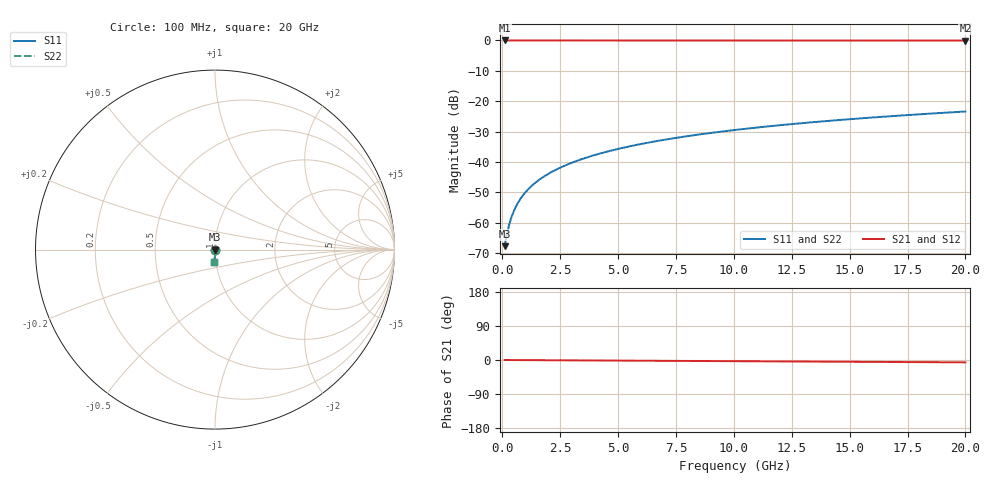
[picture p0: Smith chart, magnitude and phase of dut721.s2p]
! Touchstone file exported from HFSS 2026.1.0
!  File:  C:/ffzhzh/LocalFiles/Ansys_Project_Files/temp_train_TSV_721_1783182323_22436.aedt
!  Generated:  12:26:44 AM Jul  5, 2026
!  Design:  TSV
!  Project:  temp_train_TSV_721_1783182323_22436
! Variables:
!  h_bsmrdl = 2um
!  h_ox = 20um
!  h_rdl = 5um
!  h_sub = 51.48um
!  h_tmrdl = 5um
!  h_tsv = 51.48um
!  h_via = 3um
!  l_bsmrdl = 300um
!  l_sub = 409.42um
!  l_tmrdl = 200um
!  m_sub = 200um
!  pitch = 11.26um
!  r_tsv = 4.71um
!  s_tmrdl = 10um
!  w_bsmrdl = 18um
!  w_sub = 500um
!  w_tmrdl = 12um
!  x_tsv_center1 = 206um
!  x_tsv_center2 = 524um
!  x_tsv_center3 = 736um
!  x_tsv_center4 = 1054um
!  x_tsv_center5 = 1266um
!  x_tsv_center6 = 1584um
# GHz S MA R 50.000000
! Terminal data exported
! Port[1] = TSV1_1_T1
! Port[2] = TSV1_1_T2
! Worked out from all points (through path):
!   200 points, 100 MHz to 20 GHz, reference 50 ohm
!   highest |S21| = 0.00 dB at 100 MHz (marker M1); lowest = 0.0 dB at 20 GHz (marker M2)
!   lowest |S11| = -67.7 dB at 100 MHz (marker M3), VSWR 1.00, Z = 50 - j0.027 ohm
!   |S11| at or under -10 dB: start of sweep to end of sweep
!   |S22| runs from -67.7 to -23.4 dB; largest |S21 - S12| = 3.2e-15
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0.1  0.0004131 -40.8  0.9997 -0.0  0.9997 -0.0  0.0004131 -40.8
! Gamma 0 0 0 0
! Port Impedance 50 0 50 0
0.2  0.0006545 -58.2  0.9997 -0.1  0.9997 -0.1  0.0006545 -58.2
0.3  0.0009419 -66.2  0.9996 -0.1  0.9996 -0.1  0.0009419 -66.2
0.4  0.001249 -70.9  0.9996 -0.1  0.9996 -0.1  0.001249 -70.9
0.5  0.001566 -73.9  0.9996 -0.2  0.9996 -0.2  0.001566 -73.9
0.7  0.002209 -77.8  0.9995 -0.2  0.9995 -0.2  0.002209 -77.8
0.8  0.002533 -79.1  0.9995 -0.3  0.9995 -0.3  0.002533 -79.1
1  0.003181 -81.1  0.9995 -0.3  0.9995 -0.3  0.003181 -81.1
1.2  0.00383 -82.4  0.9995 -0.4  0.9995 -0.4  0.00383 -82.4
1.4  0.00448 -83.3  0.9994 -0.5  0.9994 -0.5  0.00448 -83.3
1.7  0.005456 -84.3  0.9994 -0.5  0.9994 -0.5  0.005456 -84.3
2  0.006436 -85.1  0.9994 -0.6  0.9994 -0.6  0.006436 -85.1
2.7  0.008736 -86.2  0.9992 -0.9  0.9992 -0.9  0.008736 -86.2
3.5  0.01139 -86.9  0.9991 -1.1  0.9991 -1.1  0.01139 -86.9
4.2  0.01373 -87.4  0.999 -1.3  0.999 -1.3  0.01373 -87.4
5  0.01643 -87.9  0.9988 -1.6  0.9988 -1.6  0.01643 -87.9
6.8  0.02256 -88.9  0.9985 -2.1  0.9985 -2.1  0.02256 -88.9
8.3  0.02769 -89.6  0.9982 -2.6  0.9982 -2.6  0.02769 -89.6
10.1  0.03386 -90.5  0.9978 -3.2  0.9978 -3.2  0.03386 -90.5
13.4  0.04518 -91.8  0.9971 -4.2  0.9971 -4.2  0.04518 -91.8
16.7  0.0565 -93.1  0.9963 -5.2  0.9963 -5.2  0.0565 -93.1
20  0.0678 -94.3  0.9954 -6.2  0.9954 -6.2  0.0678 -94.3
